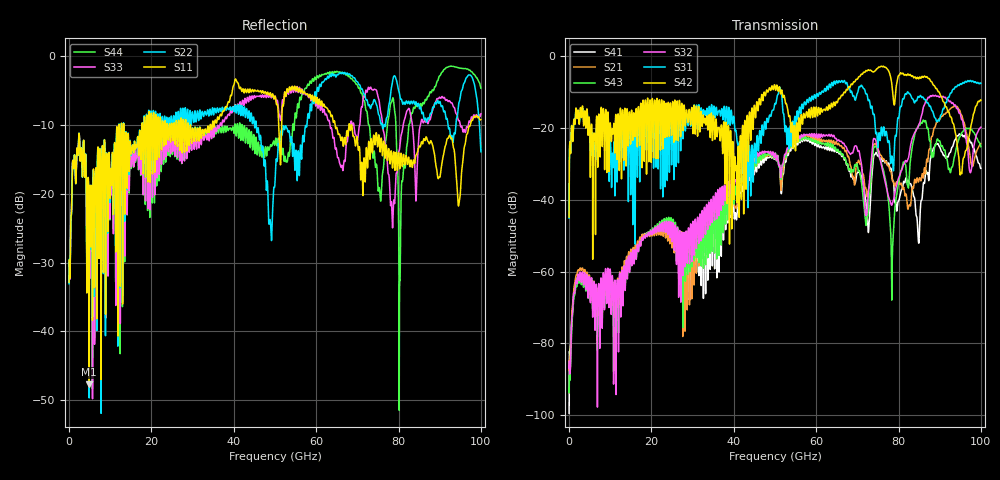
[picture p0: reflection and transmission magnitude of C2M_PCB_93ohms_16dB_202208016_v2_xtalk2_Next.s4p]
! Info: Touchstone file created by Circ.  Input file=Intel_C2M_200G_5p0in_202208016_staggered.circ
# Hz S RI R 50
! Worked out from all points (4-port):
!   10000 points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, 10 MHz to 100 GHz, reference 50 ohm
!   strongest paths, dB at 10 MHz, 25.01 GHz, 50.01 GHz, 75.01 GHz, 100 GHz:
!     S42: -44.9, -16.0, -8.7, -3.4, -12.4
!     S31: -45.2, -19.6, -13.2, -25.4, -7.7
!     S32: -85.0, -51.5, -27.1, -26.1, -19.9
!     S43: -92.5, -48.0, -27.3, -26.8, -25.3
!     S21: -86.6, -53.4, -27.3, -26.0, -24.4
!     S41: -99.4, -49.6, -27.7, -27.8, -31.3
!   lowest |S11| = -47.7 dB at 4.89 GHz (marker M1), VSWR 1.01, Z = 50.4 - j0.082 ohm
!   |S11| at or under -10 dB: start of sweep to 12.12 GHz; 29.48 GHz to 34.24 GHz (4.761 GHz wide, 14.9 % of centre); 68.64 GHz to 97.42 GHz (28.78 GHz wide, 34.7 % of centre)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
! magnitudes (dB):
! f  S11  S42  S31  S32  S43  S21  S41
! 10 MHz  -32.9  -44.9  -45.2  -85.0  -92.5  -86.6  -99.4
! 4.89 GHz  -47.7  -17.2  -18.7  -61.4  -64.0  -61.0  -63.1
! 56.65 GHz  -5.0  -19.0  -13.6  -22.5  -23.4  -22.6  -23.9
! 74.49 GHz  -11.5  -4.0  -21.7  -23.5  -25.1  -24.5  -26.9
! 78.41 GHz  -15.1  -8.2  -27.9  -41.5  -63.0  -33.9  -33.2
! 85.1 GHz  -13.0  -5.9  -11.4  -18.8  -19.4  -34.0  -48.2
! 100 GHz  -9.2  -12.4  -7.7  -19.9  -25.3  -24.4  -31.3
